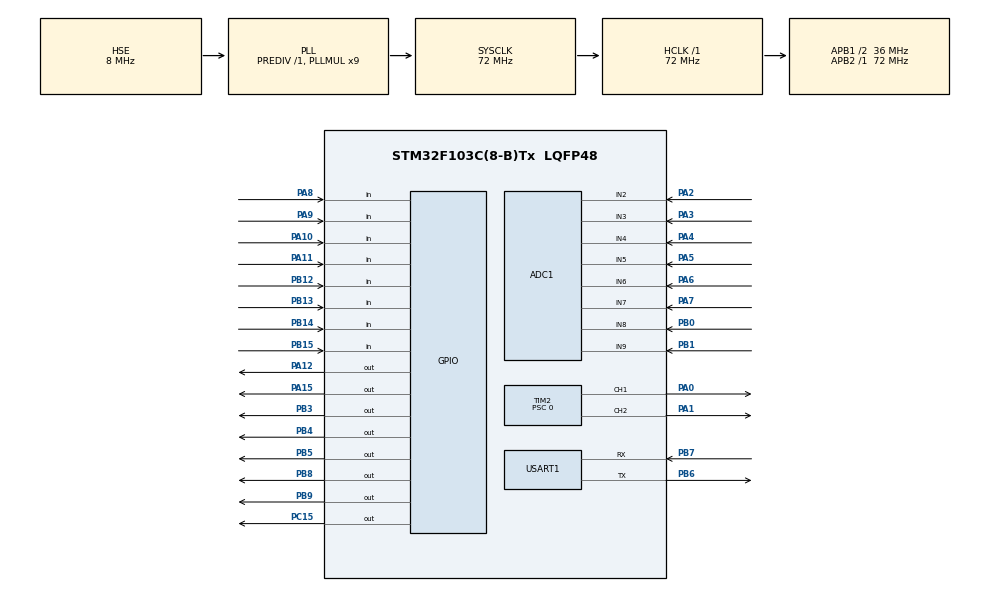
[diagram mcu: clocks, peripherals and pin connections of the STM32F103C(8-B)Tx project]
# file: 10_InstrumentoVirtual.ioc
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ADC1.Channel-2\#ChannelRegularConversion=ADC_CHANNEL_2
ADC1.Channel-3\#ChannelRegularConversion=ADC_CHANNEL_3
ADC1.Channel-4\#ChannelRegularConversion=ADC_CHANNEL_4
ADC1.Channel-5\#ChannelRegularConversion=ADC_CHANNEL_5
ADC1.Channel-6\#ChannelRegularConversion=ADC_CHANNEL_6
ADC1.Channel-7\#ChannelRegularConversion=ADC_CHANNEL_2
ADC1.Channel-8\#ChannelRegularConversion=ADC_CHANNEL_7
ADC1.Channel-9\#ChannelRegularConversion=ADC_CHANNEL_8
ADC1.ContinuousConvMode=ENABLE
ADC1.NbrOfConversion=8
ADC1.NbrOfConversionFlag=1
ADC1.Rank-2\#ChannelRegularConversion=1
ADC1.Rank-3\#ChannelRegularConversion=2
ADC1.Rank-4\#ChannelRegularConversion=3
ADC1.Rank-5\#ChannelRegularConversion=4
ADC1.Rank-6\#ChannelRegularConversion=5
ADC1.Rank-7\#ChannelRegularConversion=6
ADC1.Rank-8\#ChannelRegularConversion=7
ADC1.Rank-9\#ChannelRegularConversion=8
ADC1.SamplingTime-2\#ChannelRegularConversion=ADC_SAMPLETIME_1CYCLE_5
ADC1.SamplingTime-3\#ChannelRegularConversion=ADC_SAMPLETIME_1CYCLE_5
ADC1.SamplingTime-4\#ChannelRegularConversion=ADC_SAMPLETIME_1CYCLE_5
ADC1.SamplingTime-5\#ChannelRegularConversion=ADC_SAMPLETIME_1CYCLE_5
ADC1.SamplingTime-6\#ChannelRegularConversion=ADC_SAMPLETIME_1CYCLE_5
ADC1.SamplingTime-7\#ChannelRegularConversion=ADC_SAMPLETIME_1CYCLE_5
ADC1.SamplingTime-8\#ChannelRegularConversion=ADC_SAMPLETIME_1CYCLE_5
ADC1.SamplingTime-9\#ChannelRegularConversion=ADC_SAMPLETIME_1CYCLE_5
ADC1.master=1
Dma.ADC1.0.Direction=DMA_PERIPH_TO_MEMORY
Dma.ADC1.0.Instance=DMA1_Channel1
Dma.ADC1.0.MemDataAlignment=DMA_MDATAALIGN_WORD
Dma.ADC1.0.MemInc=DMA_MINC_ENABLE
Dma.ADC1.0.Mode=DMA_NORMAL
Dma.ADC1.0.PeriphDataAlignment=DMA_PDATAALIGN_WORD
Dma.ADC1.0.PeriphInc=DMA_PINC_DISABLE
Dma.ADC1.0.Priority=DMA_PRIORITY_LOW
Dma.Request0=ADC1
Mcu.Family=STM32F1
Mcu.Name=STM32F103C(8-B)Tx
Mcu.Package=LQFP48
Mcu.UserConstants=adc1,$$_ADC1_IP_HANDLE_$$;PWMHAN,$$_TIM2_IP_HANDLE_$$;PWM1,TIM2->CCR1;PWM1_CH,TIM_CHANEL_1;PWM2,TIM2->CCR2;PWM2_CH,TIM_CHANNEL_2;PWMTIM2,TIM2
NVIC.ADC1_2_IRQn=true\:0\:0\:false\:false\:true\:true\:true\:true
NVIC.DMA1_Channel1_IRQn=true\:0\:0\:false\:false\:true\:false\:true\:true
NVIC.PriorityGroup=NVIC_PRIORITYGROUP_4
NVIC.USART1_IRQn=true\:0\:0\:false\:false\:true\:true\:true\:true
PA0-WKUP.Signal=S_TIM2_CH1_ETR
PA1.Signal=S_TIM2_CH2
PA10.GPIO_PuPd=GPIO_PULLDOWN
PA10.Signal=GPIO_Input
PA11.GPIO_PuPd=GPIO_PULLDOWN
PA11.Signal=GPIO_Input
PA12.Signal=GPIO_Output
PA13.Mode=Serial_Wire
PA13.Signal=SYS_JTMS-SWDIO
PA14.Mode=Serial_Wire
PA14.Signal=SYS_JTCK-SWCLK
PA15.Signal=GPIO_Output
PA2.Signal=ADCx_IN2
PA3.Signal=ADCx_IN3
PA4.Signal=ADCx_IN4
PA5.Signal=ADCx_IN5
PA6.Signal=ADCx_IN6
PA7.Signal=ADCx_IN7
PA8.GPIO_PuPd=GPIO_PULLDOWN
PA8.Signal=GPIO_Input
PA9.GPIO_PuPd=GPIO_PULLDOWN
PA9.Signal=GPIO_Input
PB0.Signal=ADCx_IN8
PB1.Signal=ADCx_IN9
PB12.GPIO_PuPd=GPIO_PULLDOWN
PB12.Signal=GPIO_Input
PB13.GPIO_PuPd=GPIO_PULLDOWN
PB13.Signal=GPIO_Input
PB14.GPIO_PuPd=GPIO_PULLDOWN
PB14.Signal=GPIO_Input
PB15.GPIO_PuPd=GPIO_PULLDOWN
PB15.Signal=GPIO_Input
PB3.Signal=GPIO_Output
PB4.Signal=GPIO_Output
PB5.Signal=GPIO_Output
PB6.Mode=Asynchronous
PB6.Signal=USART1_TX
PB7.Mode=Asynchronous
PB7.Signal=USART1_RX
PB8.Signal=GPIO_Output
PB9.Signal=GPIO_Output
PC15-OSC32_OUT.Signal=GPIO_Output
PD0-OSC_IN.Mode=HSE-External-Oscillator
PD0-OSC_IN.Signal=RCC_OSC_IN
PD1-OSC_OUT.Mode=HSE-External-Oscillator
PD1-OSC_OUT.Signal=RCC_OSC_OUT
ProjectManager.HeapSize=0x200
ProjectManager.StackSize=0x400
ProjectManager.TargetToolchain=STM32CubeIDE
RCC.ADCPresc=RCC_ADCPCLK2_DIV6
RCC.AHBFreq_Value=72000000
RCC.APB1CLKDivider=RCC_HCLK_DIV2
RCC.APB1Freq_Value=36000000
RCC.APB1TimFreq_Value=72000000
RCC.APB2Freq_Value=72000000
RCC.APB2TimFreq_Value=72000000
RCC.HCLKFreq_Value=72000000
RCC.PLLMUL=RCC_PLL_MUL9
RCC.PLLSourceVirtual=RCC_PLLSOURCE_HSE
RCC.SYSCLKFreq_VALUE=72000000
RCC.SYSCLKSource=RCC_SYSCLKSOURCE_PLLCLK
RCC.USBFreq_Value=72000000
SH.ADCx_IN2.0=ADC1_IN2,IN2
SH.ADCx_IN3.0=ADC1_IN3,IN3
SH.ADCx_IN4.0=ADC1_IN4,IN4
SH.ADCx_IN5.0=ADC1_IN5,IN5
SH.ADCx_IN6.0=ADC1_IN6,IN6
SH.ADCx_IN7.0=ADC1_IN7,IN7
SH.ADCx_IN8.0=ADC1_IN8,IN8
SH.ADCx_IN9.0=ADC1_IN9,IN9
SH.S_TIM2_CH1_ETR.0=TIM2_CH1,PWM Generation1 CH1
SH.S_TIM2_CH2.0=TIM2_CH2,PWM Generation2 CH2
TIM2.AutoReloadPreload=TIM_AUTORELOAD_PRELOAD_ENABLE
TIM2.Channel-PWM\ Generation1\ CH1=TIM_CHANNEL_1
TIM2.Channel-PWM\ Generation2\ CH2=TIM_CHANNEL_2
TIM2.Period=65535
TIM2.Prescaler=0
TIM3.AutoReloadPreload=TIM_AUTORELOAD_PRELOAD_ENABLE
TIM3.Period=8
TIM3.Prescaler=35999
USART1.VirtualMode=VM_ASYNC
VP_TIM2_VS_ClockSourceINT.Mode=Internal
VP_TIM3_VS_ClockSourceINT.Mode=Internal
board=custom

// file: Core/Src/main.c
/* USER CODE BEGIN Header */
/**
  ******************************************************************************
  * @file           : main.c
  * @brief          : Main program body
  ******************************************************************************
  * @attention
  *
  * Copyright (c) 2023 STMicroelectronics.
  * All rights reserved.
  *
  * This software is licensed under terms that can be found in the LICENSE file
  * in the root directory of this software component.
  * If no LICENSE file comes with this software, it is provided AS-IS.
  *
  ******************************************************************************
  */
/* USER CODE END Header */
#include "main.h"

ADC_HandleTypeDef hadc1;
DMA_HandleTypeDef hdma_adc1;

TIM_HandleTypeDef htim2;
TIM_HandleTypeDef htim3;

UART_HandleTypeDef huart1;

/* USER CODE BEGIN PV */
#pragma pack(1)
typedef struct Frame{
    uint8_t startByte;
    uint8_t counter;
	uint8_t digitalInputs;
	uint16_t analogInput1;
	uint16_t analogInput2;
	uint16_t analogInput3;
	uint16_t analogInput4;
	uint16_t analogInput5;
	uint16_t analogInput6;
	uint16_t analogInput7;
	uint16_t analogInput8;
	uint8_t digitalOutputs;
	uint16_t analogOutput1;
	uint16_t analogOutput2;
} Frame;

union serialDataUnion {
	uint8_t arryBytes[24];
	Frame frame;
} rxUnion, txUnion;

uint32_t adcVal[8];
/* USER CODE END PV */

void SystemClock_Config(void);
static void MX_GPIO_Init(void);
static void MX_DMA_Init(void);
static void MX_ADC1_Init(void);
static void MX_TIM2_Init(void);
static void MX_USART1_UART_Init(void);
static void MX_TIM3_Init(void);

int main(void)
{

  /* MCU Configuration--------------------------------------------------------*/

  /* Reset of all peripherals, Initializes the Flash interface and the Systick. */
  HAL_Init();

  /* Configure the system clock */
  SystemClock_Config();

  /* Initialize all configured peripherals */
  MX_GPIO_Init();
  MX_DMA_Init();
  MX_ADC1_Init();
  MX_TIM2_Init();
  MX_USART1_UART_Init();
  MX_TIM3_Init();
  /* USER CODE BEGIN 2 */

  // Sent Data
  txUnion.frame.startByte = 0x1b;
  txUnion.frame.counter = 0;

  HAL_TIM_Base_Start_IT(&htim3);  		// Timer for interruption 1kHz

  HAL_ADC_Start_DMA(&hadc1,adcVal,8);   // Analog Input

  // Received Data
  HAL_UART_Receive_IT(&huart1, rxUnion.arryBytes, 24);	// Listen for serial data income

  HAL_TIM_PWM_Start(&htim2,TIM_CHANNEL_1);  	// Enable analogOuput1
  HAL_TIM_PWM_Start(&htim2,TIM_CHANNEL_2);		// Enable analogOuput2

  TIM2->CCR1 = 0; // 0 a 65535 => 0V a 3.3V   	// Set analogOuput1 to 0
  TIM2->CCR2 = 0; // 0 a 65535 => 0V a 3.3V		// Set analogOuput2 to 0
  /* USER CODE END 2 */

  /* Infinite loop */
  while (1)
  {

  }
}

void SystemClock_Config(void)
{
  RCC_OscInitTypeDef RCC_OscInitStruct = {0};
  RCC_ClkInitTypeDef RCC_ClkInitStruct = {0};
  RCC_PeriphCLKInitTypeDef PeriphClkInit = {0};

  /** Initializes the RCC Oscillators according to the specified parameters
  * in the RCC_OscInitTypeDef structure.
  */
  RCC_OscInitStruct.OscillatorType = RCC_OSCILLATORTYPE_HSE;
  RCC_OscInitStruct.HSEState = RCC_HSE_ON;
  RCC_OscInitStruct.HSEPredivValue = RCC_HSE_PREDIV_DIV1;
  RCC_OscInitStruct.HSIState = RCC_HSI_ON;
  RCC_OscInitStruct.PLL.PLLState = RCC_PLL_ON;
  RCC_OscInitStruct.PLL.PLLSource = RCC_PLLSOURCE_HSE;
  RCC_OscInitStruct.PLL.PLLMUL = RCC_PLL_MUL9;
  if (HAL_RCC_OscConfig(&RCC_OscInitStruct) != HAL_OK)
  {
    Error_Handler();
  }

  /** Initializes the CPU, AHB and APB buses clocks
  */
  RCC_ClkInitStruct.ClockType = RCC_CLOCKTYPE_HCLK|RCC_CLOCKTYPE_SYSCLK
                              |RCC_CLOCKTYPE_PCLK1|RCC_CLOCKTYPE_PCLK2;
  RCC_ClkInitStruct.SYSCLKSource = RCC_SYSCLKSOURCE_PLLCLK;
  RCC_ClkInitStruct.AHBCLKDivider = RCC_SYSCLK_DIV1;
  RCC_ClkInitStruct.APB1CLKDivider = RCC_HCLK_DIV2;
  RCC_ClkInitStruct.APB2CLKDivider = RCC_HCLK_DIV1;

  if (HAL_RCC_ClockConfig(&RCC_ClkInitStruct, FLASH_LATENCY_2) != HAL_OK)
  {
    Error_Handler();
  }
  PeriphClkInit.PeriphClockSelection = RCC_PERIPHCLK_ADC;
  PeriphClkInit.AdcClockSelection = RCC_ADCPCLK2_DIV6;
  if (HAL_RCCEx_PeriphCLKConfig(&PeriphClkInit) != HAL_OK)
  {
    Error_Handler();
  }
}

static void MX_ADC1_Init(void)
{

  ADC_ChannelConfTypeDef sConfig = {0};

  /** Common config
  */
  hadc1.Instance = ADC1;
  hadc1.Init.ScanConvMode = ADC_SCAN_ENABLE;
  hadc1.Init.ContinuousConvMode = ENABLE;
  hadc1.Init.DiscontinuousConvMode = DISABLE;
  hadc1.Init.ExternalTrigConv = ADC_SOFTWARE_START;
  hadc1.Init.DataAlign = ADC_DATAALIGN_RIGHT;
  hadc1.Init.NbrOfConversion = 8;
  if (HAL_ADC_Init(&hadc1) != HAL_OK)
  {
    Error_Handler();
  }

  /** Configure Regular Channel
  */
  sConfig.Channel = ADC_CHANNEL_2;
  sConfig.Rank = ADC_REGULAR_RANK_1;
  sConfig.SamplingTime = ADC_SAMPLETIME_1CYCLE_5;
  if (HAL_ADC_ConfigChannel(&hadc1, &sConfig) != HAL_OK)
  {
    Error_Handler();
  }

  /** Configure Regular Channel
  */
  sConfig.Channel = ADC_CHANNEL_3;
  sConfig.Rank = ADC_REGULAR_RANK_2;
  if (HAL_ADC_ConfigChannel(&hadc1, &sConfig) != HAL_OK)
  {
    Error_Handler();
  }

  /** Configure Regular Channel
  */
  sConfig.Channel = ADC_CHANNEL_4;
  sConfig.Rank = ADC_REGULAR_RANK_3;
  if (HAL_ADC_ConfigChannel(&hadc1, &sConfig) != HAL_OK)
  {
    Error_Handler();
  }

  /** Configure Regular Channel
  */
  sConfig.Channel = ADC_CHANNEL_5;
  sConfig.Rank = ADC_REGULAR_RANK_4;
  if (HAL_ADC_ConfigChannel(&hadc1, &sConfig) != HAL_OK)
  {
    Error_Handler();
  }

  /** Configure Regular Channel
  */
  sConfig.Channel = ADC_CHANNEL_6;
  sConfig.Rank = ADC_REGULAR_RANK_5;
  if (HAL_ADC_ConfigChannel(&hadc1, &sConfig) != HAL_OK)
  {
    Error_Handler();
  }

  /** Configure Regular Channel
  */
  sConfig.Channel = ADC_CHANNEL_7;
  sConfig.Rank = ADC_REGULAR_RANK_6;
  if (HAL_ADC_ConfigChannel(&hadc1, &sConfig) != HAL_OK)
  {
    Error_Handler();
  }

  /** Configure Regular Channel
  */
  sConfig.Channel = ADC_CHANNEL_8;
  sConfig.Rank = ADC_REGULAR_RANK_7;
  if (HAL_ADC_ConfigChannel(&hadc1, &sConfig) != HAL_OK)
  {
    Error_Handler();
  }

  /** Configure Regular Channel
  */
  sConfig.Channel = ADC_CHANNEL_9;
  sConfig.Rank = ADC_REGULAR_RANK_8;
  if (HAL_ADC_ConfigChannel(&hadc1, &sConfig) != HAL_OK)
  {
    Error_Handler();
  }

}

static void MX_TIM2_Init(void)
{

  TIM_ClockConfigTypeDef sClockSourceConfig = {0};
  TIM_MasterConfigTypeDef sMasterConfig = {0};
  TIM_OC_InitTypeDef sConfigOC = {0};

  htim2.Instance = TIM2;
  htim2.Init.Prescaler = 0;
  htim2.Init.CounterMode = TIM_COUNTERMODE_UP;
  htim2.Init.Period = 65535;
  htim2.Init.ClockDivision = TIM_CLOCKDIVISION_DIV1;
  htim2.Init.AutoReloadPreload = TIM_AUTORELOAD_PRELOAD_ENABLE;
  if (HAL_TIM_Base_Init(&htim2) != HAL_OK)
  {
    Error_Handler();
  }
  sClockSourceConfig.ClockSource = TIM_CLOCKSOURCE_INTERNAL;
  if (HAL_TIM_ConfigClockSource(&htim2, &sClockSourceConfig) != HAL_OK)
  {
    Error_Handler();
  }
  if (HAL_TIM_PWM_Init(&htim2) != HAL_OK)
  {
    Error_Handler();
  }
  sMasterConfig.MasterOutputTrigger = TIM_TRGO_RESET;
  sMasterConfig.MasterSlaveMode = TIM_MASTERSLAVEMODE_DISABLE;
  if (HAL_TIMEx_MasterConfigSynchronization(&htim2, &sMasterConfig) != HAL_OK)
  {
    Error_Handler();
  }
  sConfigOC.OCMode = TIM_OCMODE_PWM1;
  sConfigOC.Pulse = 0;
  sConfigOC.OCPolarity = TIM_OCPOLARITY_HIGH;
  sConfigOC.OCFastMode = TIM_OCFAST_DISABLE;
  if (HAL_TIM_PWM_ConfigChannel(&htim2, &sConfigOC, TIM_CHANNEL_1) != HAL_OK)
  {
    Error_Handler();
  }
  if (HAL_TIM_PWM_ConfigChannel(&htim2, &sConfigOC, TIM_CHANNEL_2) != HAL_OK)
  {
    Error_Handler();
  }
  HAL_TIM_MspPostInit(&htim2);

}

static void MX_TIM3_Init(void)
{

  TIM_ClockConfigTypeDef sClockSourceConfig = {0};
  TIM_MasterConfigTypeDef sMasterConfig = {0};

  htim3.Instance = TIM3;
  htim3.Init.Prescaler = 35999;
  htim3.Init.CounterMode = TIM_COUNTERMODE_UP;
  htim3.Init.Period = 8;
  htim3.Init.ClockDivision = TIM_CLOCKDIVISION_DIV1;
  htim3.Init.AutoReloadPreload = TIM_AUTORELOAD_PRELOAD_ENABLE;
  if (HAL_TIM_Base_Init(&htim3) != HAL_OK)
  {
    Error_Handler();
  }
  sClockSourceConfig.ClockSource = TIM_CLOCKSOURCE_INTERNAL;
  if (HAL_TIM_ConfigClockSource(&htim3, &sClockSourceConfig) != HAL_OK)
  {
    Error_Handler();
  }
  sMasterConfig.MasterOutputTrigger = TIM_TRGO_RESET;
  sMasterConfig.MasterSlaveMode = TIM_MASTERSLAVEMODE_DISABLE;
  if (HAL_TIMEx_MasterConfigSynchronization(&htim3, &sMasterConfig) != HAL_OK)
  {
    Error_Handler();
  }

}

static void MX_USART1_UART_Init(void)
{

  huart1.Instance = USART1;
  huart1.Init.BaudRate = 115200;
  huart1.Init.WordLength = UART_WORDLENGTH_8B;
  huart1.Init.StopBits = UART_STOPBITS_1;
  huart1.Init.Parity = UART_PARITY_NONE;
  huart1.Init.Mode = UART_MODE_TX_RX;
  huart1.Init.HwFlowCtl = UART_HWCONTROL_NONE;
  huart1.Init.OverSampling = UART_OVERSAMPLING_16;
  if (HAL_UART_Init(&huart1) != HAL_OK)
  {
    Error_Handler();
  }

}

static void MX_DMA_Init(void)
{

  /* DMA controller clock enable */
  __HAL_RCC_DMA1_CLK_ENABLE();

  /* DMA interrupt init */
  /* DMA1_Channel1_IRQn interrupt configuration */
  HAL_NVIC_SetPriority(DMA1_Channel1_IRQn, 0, 0);
  HAL_NVIC_EnableIRQ(DMA1_Channel1_IRQn);

}

static void MX_GPIO_Init(void)
{
  GPIO_InitTypeDef GPIO_InitStruct = {0};

  /* GPIO Ports Clock Enable */
  __HAL_RCC_GPIOC_CLK_ENABLE();
  __HAL_RCC_GPIOD_CLK_ENABLE();
  __HAL_RCC_GPIOA_CLK_ENABLE();
  __HAL_RCC_GPIOB_CLK_ENABLE();

  /*Configure GPIO pin Output Level */
  HAL_GPIO_WritePin(GPIOC, GPIO_PIN_15, GPIO_PIN_RESET);

  /*Configure GPIO pin Output Level */
  HAL_GPIO_WritePin(GPIOA, GPIO_PIN_12|GPIO_PIN_15, GPIO_PIN_RESET);

  /*Configure GPIO pin Output Level */
  HAL_GPIO_WritePin(GPIOB, GPIO_PIN_3|GPIO_PIN_4|GPIO_PIN_5|GPIO_PIN_8
                          |GPIO_PIN_9, GPIO_PIN_RESET);

  /*Configure GPIO pin : PC15 */
  GPIO_InitStruct.Pin = GPIO_PIN_15;
  GPIO_InitStruct.Mode = GPIO_MODE_OUTPUT_PP;
  GPIO_InitStruct.Pull = GPIO_NOPULL;
  GPIO_InitStruct.Speed = GPIO_SPEED_FREQ_LOW;
  HAL_GPIO_Init(GPIOC, &GPIO_InitStruct);

  /*Configure GPIO pins : PB12 PB13 PB14 PB15 */
  GPIO_InitStruct.Pin = GPIO_PIN_12|GPIO_PIN_13|GPIO_PIN_14|GPIO_PIN_15;
  GPIO_InitStruct.Mode = GPIO_MODE_INPUT;
  GPIO_InitStruct.Pull = GPIO_NOPULL;
  HAL_GPIO_Init(GPIOB, &GPIO_InitStruct);

  /*Configure GPIO pins : PA8 PA9 PA10 PA11 */
  GPIO_InitStruct.Pin = GPIO_PIN_8|GPIO_PIN_9|GPIO_PIN_10|GPIO_PIN_11;
  GPIO_InitStruct.Mode = GPIO_MODE_INPUT;
  GPIO_InitStruct.Pull = GPIO_NOPULL;
  HAL_GPIO_Init(GPIOA, &GPIO_InitStruct);

  /*Configure GPIO pins : PA12 PA15 */
  GPIO_InitStruct.Pin = GPIO_PIN_12|GPIO_PIN_15;
  GPIO_InitStruct.Mode = GPIO_MODE_OUTPUT_PP;
  GPIO_InitStruct.Pull = GPIO_NOPULL;
  GPIO_InitStruct.Speed = GPIO_SPEED_FREQ_LOW;
  HAL_GPIO_Init(GPIOA, &GPIO_InitStruct);

  /*Configure GPIO pins : PB3 PB4 PB5 PB8
                           PB9 */
  GPIO_InitStruct.Pin = GPIO_PIN_3|GPIO_PIN_4|GPIO_PIN_5|GPIO_PIN_8
                          |GPIO_PIN_9;
  GPIO_InitStruct.Mode = GPIO_MODE_OUTPUT_PP;
  GPIO_InitStruct.Pull = GPIO_NOPULL;
  GPIO_InitStruct.Speed = GPIO_SPEED_FREQ_LOW;
  HAL_GPIO_Init(GPIOB, &GPIO_InitStruct);

}

/* USER CODE BEGIN 4 */
void HAL_ADC_ConvCpltCallback(ADC_HandleTypeDef* hadc){

	txUnion.frame.analogInput1 = adcVal[0] & 0xFFFF;
	txUnion.frame.analogInput2 = adcVal[1] & 0xFFFF;
	txUnion.frame.analogInput3 = adcVal[2] & 0xFFFF;
	txUnion.frame.analogInput4 = adcVal[3] & 0xFFFF;
	txUnion.frame.analogInput5 = adcVal[4] & 0xFFFF;
	txUnion.frame.analogInput6 = adcVal[5] & 0xFFFF;
	txUnion.frame.analogInput7 = adcVal[6] & 0xFFFF;
	txUnion.frame.analogInput8 = adcVal[7] & 0xFFFF;
}

void HAL_TIM_PeriodElapsedCallback(TIM_HandleTypeDef *htim) {
	if(htim->Instance == TIM3){
		// Read Digital Input 1
		HAL_GPIO_ReadPin(GPIOB, GPIO_PIN_12) == GPIO_PIN_SET ? (txUnion.frame.digitalInputs |= 0b00000001) : (txUnion.frame.digitalInputs &= 0b11111110);
		HAL_GPIO_ReadPin(GPIOB, GPIO_PIN_13) == GPIO_PIN_SET ? (txUnion.frame.digitalInputs |= 0b00000010) : (txUnion.frame.digitalInputs &= 0b11111101);
		HAL_GPIO_ReadPin(GPIOB, GPIO_PIN_14) == GPIO_PIN_SET ? (txUnion.frame.digitalInputs |= 0b00000100) : (txUnion.frame.digitalInputs &= 0b11111011);
		HAL_GPIO_ReadPin(GPIOB, GPIO_PIN_15) == GPIO_PIN_SET ? (txUnion.frame.digitalInputs |= 0b00001000) : (txUnion.frame.digitalInputs &= 0b11110111);
		HAL_GPIO_ReadPin(GPIOA, GPIO_PIN_8) == GPIO_PIN_SET ? (txUnion.frame.digitalInputs |= 0b00010000) : (txUnion.frame.digitalInputs &= 0b11101111);
		HAL_GPIO_ReadPin(GPIOA, GPIO_PIN_9) == GPIO_PIN_SET ? (txUnion.frame.digitalInputs |= 0b00100000) : (txUnion.frame.digitalInputs &= 0b11011111);
		HAL_GPIO_ReadPin(GPIOA, GPIO_PIN_10) == GPIO_PIN_SET ? (txUnion.frame.digitalInputs |= 0b01000000) : (txUnion.frame.digitalInputs &= 0b10111111);
		HAL_GPIO_ReadPin(GPIOA, GPIO_PIN_11) == GPIO_PIN_SET ? (txUnion.frame.digitalInputs |= 0b10000000) : (txUnion.frame.digitalInputs &= 0b01111111);

		// Read Analog Inputs - Done in ADC callback

		// Read Digital Output 1
		HAL_GPIO_ReadPin(GPIOA, GPIO_PIN_12) == GPIO_PIN_SET ? (txUnion.frame.digitalOutputs |= 0b00000001) : (txUnion.frame.digitalOutputs &= 0b11111110);
		HAL_GPIO_ReadPin(GPIOA, GPIO_PIN_15) == GPIO_PIN_SET ? (txUnion.frame.digitalOutputs |= 0b00000010) : (txUnion.frame.digitalOutputs &= 0b11111101);
		HAL_GPIO_ReadPin(GPIOB, GPIO_PIN_3) == GPIO_PIN_SET ? (txUnion.frame.digitalOutputs |= 0b00000100) : (txUnion.frame.digitalOutputs &= 0b11111011);
		HAL_GPIO_ReadPin(GPIOB, GPIO_PIN_4) == GPIO_PIN_SET ? (txUnion.frame.digitalOutputs |= 0b00001000) : (txUnion.frame.digitalOutputs &= 0b11110111);
		HAL_GPIO_ReadPin(GPIOB, GPIO_PIN_5) == GPIO_PIN_SET ? (txUnion.frame.digitalOutputs |= 0b00010000) : (txUnion.frame.digitalOutputs &= 0b11101111);
		HAL_GPIO_ReadPin(GPIOB, GPIO_PIN_8) == GPIO_PIN_SET ? (txUnion.frame.digitalOutputs |= 0b00100000) : (txUnion.frame.digitalOutputs &= 0b11011111);
		HAL_GPIO_ReadPin(GPIOB, GPIO_PIN_9) == GPIO_PIN_SET ? (txUnion.frame.digitalOutputs |= 0b01000000) : (txUnion.frame.digitalOutputs &= 0b10111111);
		HAL_GPIO_ReadPin(GPIOC, GPIO_PIN_15) == GPIO_PIN_SET ? (txUnion.frame.digitalOutputs |= 0b10000000) : (txUnion.frame.digitalOutputs &= 0b01111111);

		// Read Analog Output
		txUnion.frame.analogOutput1 = TIM2->CCR1;
		txUnion.frame.analogOutput2 = TIM2->CCR2;

		// Transmit to QT
		HAL_UART_Transmit_IT(&huart1, txUnion.arryBytes, 24);

		// Increment counter
		if(txUnion.frame.counter == 255){
			txUnion.frame.counter = 0;
		} else {
			txUnion.frame.counter += 1;
		}
	}
}

void HAL_UART_RxCpltCallback(UART_HandleTypeDef *huart)
{
  if(rxUnion.frame.startByte == 0x1b) {
	  // In case some validation is required, input values showed in QT are available in rxUnion.frame

	  // Getting the bits for digital output
	  (rxUnion.frame.digitalOutputs & 1) == 1 ? HAL_GPIO_WritePin(GPIOA, GPIO_PIN_12, GPIO_PIN_SET) : HAL_GPIO_WritePin(GPIOA, GPIO_PIN_12, GPIO_PIN_RESET);
	  ((rxUnion.frame.digitalOutputs >> 1) & 1) == 1 ? HAL_GPIO_WritePin(GPIOA, GPIO_PIN_15, GPIO_PIN_SET) : HAL_GPIO_WritePin(GPIOA, GPIO_PIN_15, GPIO_PIN_RESET);
	  ((rxUnion.frame.digitalOutputs >> 2) & 1) == 1 ? HAL_GPIO_WritePin(GPIOB, GPIO_PIN_3, GPIO_PIN_SET) : HAL_GPIO_WritePin(GPIOB, GPIO_PIN_3, GPIO_PIN_RESET);
	  ((rxUnion.frame.digitalOutputs >> 3) & 1) == 1 ? HAL_GPIO_WritePin(GPIOB, GPIO_PIN_4, GPIO_PIN_SET) : HAL_GPIO_WritePin(GPIOB, GPIO_PIN_4, GPIO_PIN_RESET);
	  ((rxUnion.frame.digitalOutputs >> 4) & 1) == 1 ? HAL_GPIO_WritePin(GPIOB, GPIO_PIN_5, GPIO_PIN_SET) : HAL_GPIO_WritePin(GPIOB, GPIO_PIN_5, GPIO_PIN_RESET);
	  ((rxUnion.frame.digitalOutputs >> 5) & 1) == 1 ? HAL_GPIO_WritePin(GPIOB, GPIO_PIN_8, GPIO_PIN_SET) : HAL_GPIO_WritePin(GPIOB, GPIO_PIN_8, GPIO_PIN_RESET);
	  ((rxUnion.frame.digitalOutputs >> 6) & 1) == 1 ? HAL_GPIO_WritePin(GPIOB, GPIO_PIN_9, GPIO_PIN_SET) : HAL_GPIO_WritePin(GPIOB, GPIO_PIN_9, GPIO_PIN_RESET);
	  ((rxUnion.frame.digitalOutputs >> 7) & 1) == 1 ? HAL_GPIO_WritePin(GPIOC, GPIO_PIN_15, GPIO_PIN_SET) : HAL_GPIO_WritePin(GPIOC, GPIO_PIN_15, GPIO_PIN_RESET);

	  // Analog output
	  TIM2->CCR1 = rxUnion.frame.analogOutput1;
	  TIM2->CCR2 = rxUnion.frame.analogOutput2;
  }

  HAL_UART_Receive_IT(&huart1, rxUnion.arryBytes, 24);
}
/* USER CODE END 4 */

void Error_Handler(void)
{
  __disable_irq();
  while (1)
  {
  }
}
